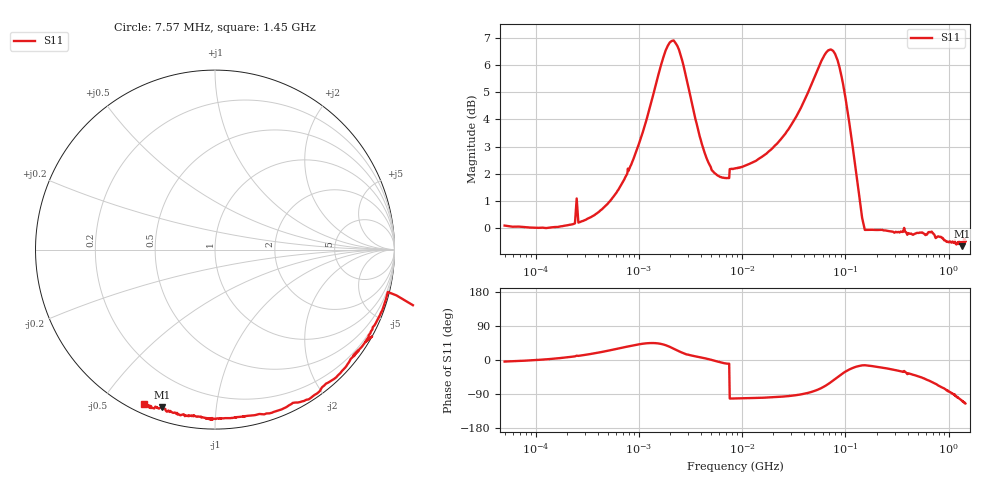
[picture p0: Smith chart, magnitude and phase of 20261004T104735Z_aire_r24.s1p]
! piloto_corto / aire / r24
# HZ S RI R 50
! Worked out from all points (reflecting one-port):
!   501 points, 50 kHz to 1.45 GHz, reference 50 ohm
!   lowest |S11| = -0.7 dB at 1.351 GHz (marker M1), VSWR 25.73, Z = 2.94 - j35.8 ohm
!   phase of S11 starts at -4 deg and turns -111 deg over the sweep
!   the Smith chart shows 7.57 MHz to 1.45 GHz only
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50000  1.007 -0.0724
183000  1.002 0.1023
658000  1.018 0.6192
1180000  1.135 1.099
1630000  1.468 1.346
1990000  1.807 1.251
2440000  1.962 0.8333
3430000  1.599 0.2873
4870000  1.303 0.0304
7300000  1.218 -0.2098
7750000  -0.259 -1.258
8560000  -0.2551 -1.261
1.81e7  -0.2127 -1.367
3.16e7  -0.1007 -1.573
4.78e7  0.2091 -1.844
6.67e7  0.8975 -1.918
7.57e7  1.237 -1.723
8.83e7  1.492 -1.276
9.82e7  1.504 -0.9377
1e8  1.495 -0.8841
1.18e8  1.31 -0.4987
1.36e8  1.103 -0.3097
1.63e8  0.9595 -0.2492
4.06e8  0.8004 -0.5621
6.85e8  0.5219 -0.8344
1.0315e9  0.0861 -0.939
1.351e9  -0.2961 -0.8765
1.45e9  -0.3942 -0.8578
